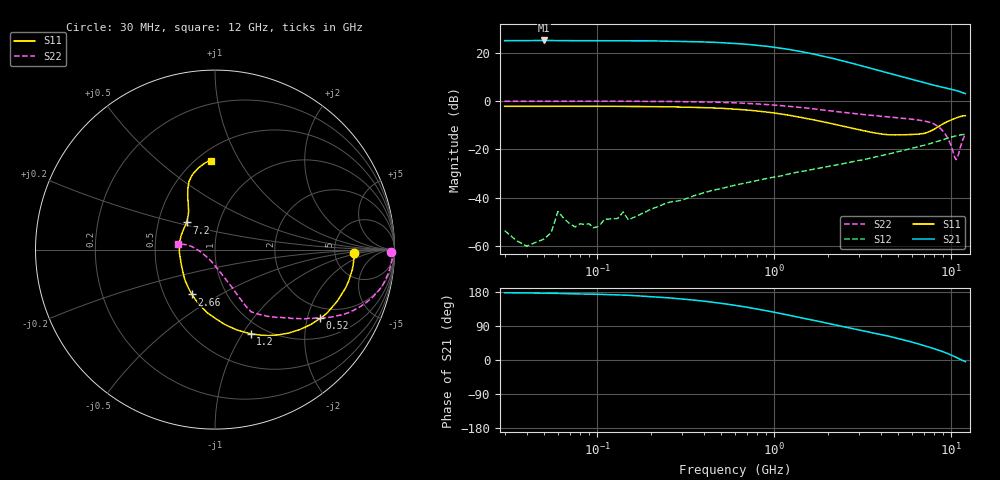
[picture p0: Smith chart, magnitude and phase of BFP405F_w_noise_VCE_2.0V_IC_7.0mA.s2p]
! Infineon Technologies  Discrete & RF Semiconductors
! BFP405F
! VCE =  2.0 V,  IC =  7.0 mA
! Common Emitter S-Parameters:  Nov 2015
# GHz  S  MA  R  50
!  f  S11  S21  S12  S22
! GHz  MAG  ANG  MAG  ANG  MAG  ANG  MAG  ANG
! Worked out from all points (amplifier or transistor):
!   239 points, 30 MHz to 12 GHz, reference 50 ohm
!   highest |S21| = 25.0 dB at 50 MHz (marker M1)
!   |S21| within 3 dB of that: start of sweep to 1.041 GHz
!   unconditionally stable (mu >= 1): 2.545 GHz to end of sweep
!   at 300 MHz: K = 0.23, MSG = 32.8 dB, |S12| = -41.0 dB
!   at 1.88 GHz: K = 0.79, MSG = 23.0 dB, |S12| = -27.5 dB
!   at 12 GHz: K = 1.42, MAG = 4.5 dB, |S12| = -13.7 dB
!   lowest NFmin = 1.45 dB at 450 MHz
!   S11 on the Smith chart (normalised r, x): 30 MHz: 7.76, -0.84; 520 MHz: 1.60, -2.41; 1.2 GHz: 0.86, -1.09; 2.66 GHz: 0.69, -0.37; 7.2 GHz: 0.70, +0.22; 12 GHz: 0.58, +0.77
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0.03  0.7741 -1.6  17.57 177.5  0.0021 168.0  0.9822 -0.8
0.04  0.7728 -2.7  17.6 177.2  0.001 -117.6  0.9849 -1.0
0.05  0.7718 -3.3  17.75 176.2  0.0014 -91.8  0.9844 -1.6
0.06  0.7767 -3.8  17.59 175.8  0.0052 92.3  0.9853 -1.6
0.085  0.7749 -5.5  17.54 174.1  0.0028 88.0  0.9884 -2.4
0.145  0.7701 -9.8  17.5 171.1  0.0042 69.0  0.9854 -4.3
0.24  0.7587 -16.0  17.22 164.8  0.0075 82.0  0.9765 -7.3
0.38  0.7316 -24.9  16.64 156.5  0.012 78.2  0.9576 -11.4
0.52  0.6999 -33.2  15.88 148.6  0.016 76.6  0.9302 -15.2
0.6  0.6779 -38.0  15.4 144.2  0.0182 74.0  0.9139 -17.2
0.72  0.6432 -44.3  14.66 138.4  0.0209 73.0  0.8864 -19.8
0.9  0.591 -53.5  13.49 130.0  0.0249 69.2  0.845 -23.5
1.2  0.5092 -67.1  11.63 118.5  0.0309 66.0  0.7764 -28.3
1.64  0.4121 -84.0  9.402 105.4  0.0384 63.4  0.6907 -33.6
2.18  0.3297 -102.9  7.437 93.0  0.0466 60.7  0.6109 -39.1
2.66  0.2806 -117.2  6.177 84.7  0.0537 60.3  0.5606 -42.8
3.4  0.2314 -137.7  4.861 74.3  0.0643 57.7  0.5106 -47.7
4.5  0.1998 -165.0  3.687 62.0  0.0812 55.4  0.4674 -52.4
7.2  0.219 136.4  2.326 36.3  0.1248 46.4  0.3771 -60.6
9  0.3386 116.7  1.901 21.4  0.159 38.5  0.2339 -65.6
10.6  0.4427 105.6  1.65 7.4  0.1896 29.1  0.0613 -127.3
12  0.497 92.8  1.41 -4.3  0.2064 21.2  0.208 170.7
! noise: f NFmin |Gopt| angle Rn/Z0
0.45  1.45  0.3  6  0.34
0.9  1.46  0.28  11  0.34
1.5  1.52  0.26  16  0.3
1.9  1.56  0.24  24  0.3
2.4  1.71  0.23  32  0.32
3  1.77  0.21  45  0.29
3.5  1.82  0.19  53  0.28
4.5  1.97  0.15  59  0.2
5.5  2.17  0.08  66  0.07
